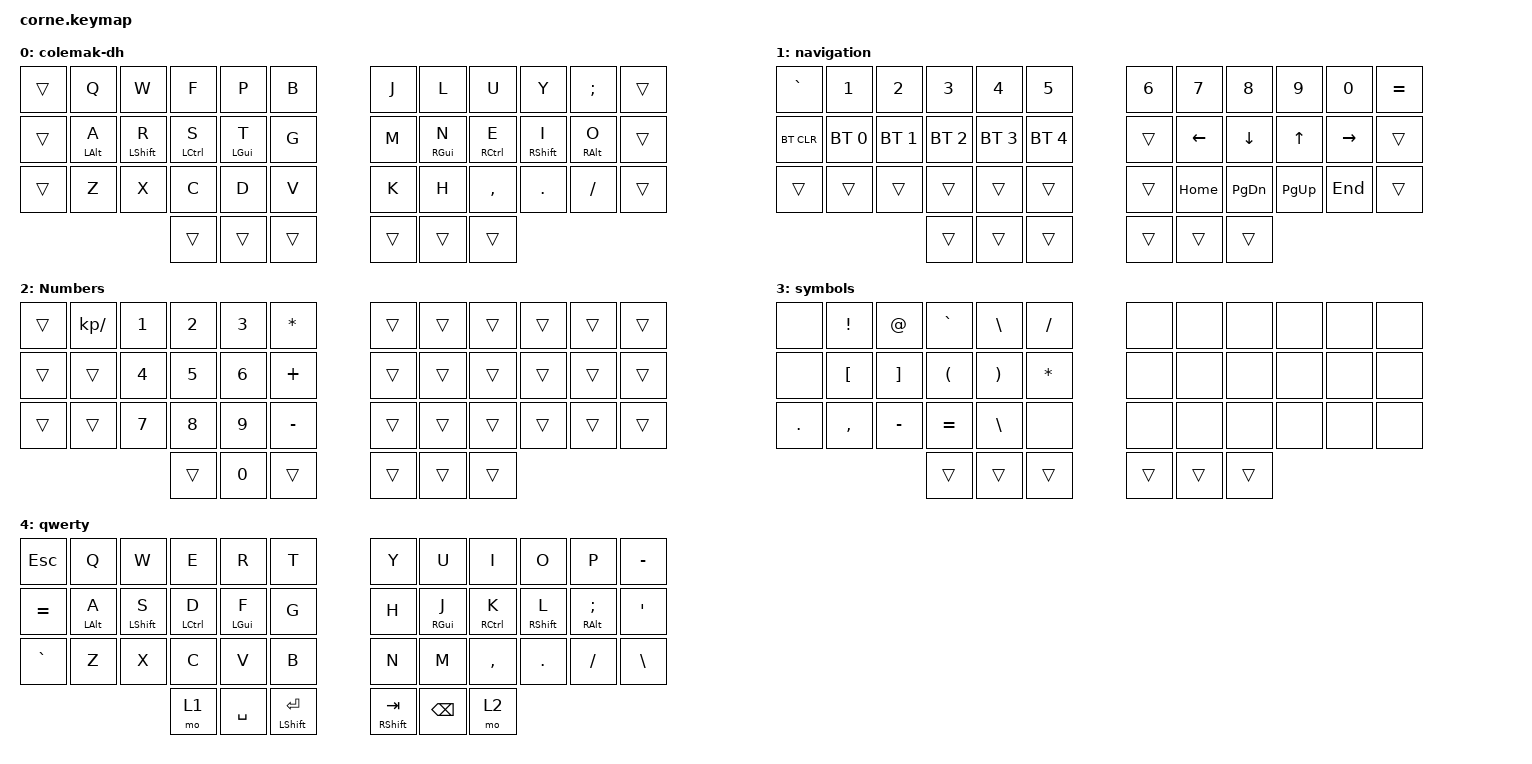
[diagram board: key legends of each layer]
/*
 * Copyright (c) 2020 The ZMK Contributors
 *
 * SPDX-License-Identifier: MIT
 */

#include <behaviors.dtsi>
#include <dt-bindings/zmk/bt.h>
#include <dt-bindings/zmk/keys.h>

/ {
    behaviors {
        hrml: hrml {
            compatible = "zmk,behavior-hold-tap";
            label = "HRML";
            bindings = <&kp>, <&kp>;

            #binding-cells = <2>;
            hold-trigger-key-positions = <13 14 15 16>;
            flavor = "balanced";
            require-prior-idle-ms = <150>;
            tapping-term-ms = <200>;
            hold-trigger-on-release;
        };

        hrmr: hrmr {
            compatible = "zmk,behavior-hold-tap";
            label = "HRMR";
            bindings = <&kp>, <&kp>;

            #binding-cells = <2>;
            flavor = "balanced";
            require-prior-idle-ms = <150>;
            tapping-term-ms = <200>;
            hold-trigger-key-positions = <20 21 22 19>;
            hold-trigger-on-release;
        };
    };

    combos {
        compatible = "zmk,combos";

        switch-colemak-dh {
            bindings = <&mo 0>;
            key-positions = <4 7>;
            layers = <4>;
            timeout-ms = <50>;
        };

        switch-qwert {
            bindings = <&mo 4>;
            key-positions = <31 28>;
            timeout-ms = <50>;
            layers = <4>;
        };
    };

    keymap {
        compatible = "zmk,keymap";

        colemak-dh {
            bindings = <
&trans  &kp Q             &kp W               &kp F          &kp P             &kp B     &kp J   &kp L              &kp U          &kp Y                &kp SEMICOLON      &trans
&trans  &hrml LEFT_ALT A  &hrml LEFT_SHIFT R  &hrml LCTRL S  &hrml LEFT_GUI T  &kp G     &kp M   &hrmr RIGHT_GUI N  &hrmr RCTRL E  &hrmr RIGHT_SHIFT I  &hrmr RIGHT_ALT O  &trans
&trans  &kp Z             &kp X               &kp C          &kp D             &kp V     &kp K   &kp H              &kp COMMA      &kp DOT              &kp FSLH           &trans
                                              &trans         &trans            &trans    &trans  &trans             &trans
            >;

            label = "colemak-dh";
        };

        navigation {
            // -----------------------------------------------------------------------------------------
            // |  TAB |  1  |  2  |  3  |  4  |  5  |   |  6  |  7  |  8  |  9  |  0  | BKSP |
            // | BTCLR| BT1 | BT2 | BT3 | BT4 | BT5 |   | LFT | DWN |  UP | RGT |     |      |
            // | SHFT |     |     |     |     |     |   |     |     |     |     |     |      |
            //                    | GUI |     | SPC |   | ENT |     | ALT |

            bindings = <
&kp GRAVE   &kp N1        &kp N2        &kp N3        &kp N4        &kp N5          &kp N6  &kp N7          &kp N8          &kp N9        &kp N0           &kp EQUAL
&bt BT_CLR  &bt BT_SEL 0  &bt BT_SEL 1  &bt BT_SEL 2  &bt BT_SEL 3  &bt BT_SEL 4    &trans  &kp LEFT_ARROW  &kp DOWN_ARROW  &kp UP_ARROW  &kp RIGHT_ARROW  &trans
&trans      &trans        &trans        &trans        &trans        &trans          &trans  &kp HOME        &kp PAGE_DOWN   &kp PAGE_UP   &kp END          &trans
                                        &trans        &trans        &trans          &trans  &trans          &trans
            >;
        };

        Numbers {
            bindings = <
&trans  &kp KP_SLASH  &kp N1  &kp N2  &kp N3        &kp ASTERISK    &trans  &trans  &trans  &trans  &trans  &trans
&trans  &trans        &kp N4  &kp N5  &kp N6        &kp PLUS        &trans  &trans  &trans  &trans  &trans  &trans
&trans  &trans        &kp N7  &kp N8  &kp N9        &kp MINUS       &trans  &trans  &trans  &trans  &trans  &trans
                              &trans  &kp NUMBER_0  &trans          &trans  &trans  &trans
            >;
        };

        symbols {
            // -----------------------------------------------------------------------------------------
            // |  TAB |  !  |  @  |  #  |  $  |  %  |   |  ^  |  &  |  *  |  (  |  )  | BKSP |
            // | CTRL |     |     |     |     |     |   |  -  |  =  |  [  |  ]  |  \  |  `   |
            // | SHFT |     |     |     |     |     |   |  _  |  +  |  {  |  }  | "|" |  ~   |
            //                    | GUI |     | SPC |   | ENT |     | ALT |

            bindings = <
&none       &kp EXCL          &kp AT             &kp GRAVE             &kp BACKSLASH          &kp SLASH       &none   &none   &none   &none  &none  &none
&none       &kp LEFT_BRACKET  &kp RIGHT_BRACKET  &kp LEFT_PARENTHESIS  &kp RIGHT_PARENTHESIS  &kp ASTERISK    &none   &none   &none   &none  &none  &none
&kp PERIOD  &kp COMMA         &kp MINUS          &kp EQUAL             &kp BACKSLASH          &none           &none   &none   &none   &none  &none  &none
                                                 &trans                &trans                 &trans          &trans  &trans  &trans
            >;
        };

        qwerty {
            // -----------------------------------------------------------------------------------------
            // |  TAB |  Q  |  W  |  E  |  R  |  T  |   |  Y  |  U   |  I  |  O  |  P  | BKSP |
            // | CTRL |  A  |  S  |  D  |  F  |  G  |   |  H  |  J   |  K  |  L  |  ;  |  '   |
            // | SHFT |  Z  |  X  |  C  |  V  |  B  |   |  N  |  M   |  ,  |  .  |  /  | ESC  |
            //                    | GUI | LWR | SPC |   | ENT | RSE  | ALT |

            bindings = <
&kp ESCAPE  &kp Q             &kp W               &kp E          &kp R             &kp T                   &kp Y                &kp U              &kp I          &kp O                &kp P                      &kp MINUS
&kp EQUAL   &hrml LEFT_ALT A  &hrml LEFT_SHIFT S  &hrml LCTRL D  &hrml LEFT_GUI F  &kp G                   &kp H                &hrmr RIGHT_GUI J  &hrmr RCTRL K  &hrmr RIGHT_SHIFT L  &hrml RIGHT_ALT SEMICOLON  &kp SINGLE_QUOTE
&kp GRAVE   &kp Z             &kp X               &kp C          &kp V             &kp B                   &kp N                &kp M              &kp COMMA      &kp DOT              &kp FSLH                   &kp BACKSLASH
                                                  &mo 1          &kp SPACE         &mt LEFT_SHIFT ENTER    &mt RIGHT_SHIFT TAB  &kp BACKSPACE      &mo 2
            >;

            label = "qwerty";
        };
    };
};
